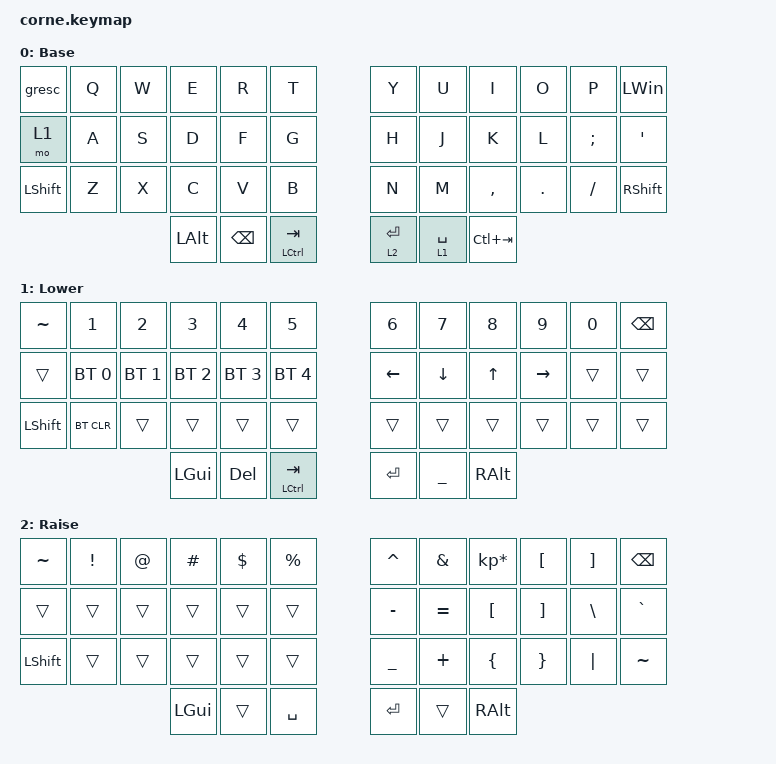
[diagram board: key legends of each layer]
/*
 * Copyright (c) 2020 The ZMK Contributors
 *
 * SPDX-License-Identifier: MIT
 */

#include <behaviors.dtsi>
#include <dt-bindings/zmk/bt.h>
#include <dt-bindings/zmk/keys.h>

/ {
    keymap {
        compatible = "zmk,keymap";

        default_layer {
            // -----------------------------------------------------------------------------------------
            // |  TAB |  Q  |  W  |  E  |  R  |  T  |   |  Y  |  U   |  I  |  O  |  P  | BKSP |
            // | CTRL |  A  |  S  |  D  |  F  |  G  |   |  H  |  J   |  K  |  L  |  ;  |  '   |
            // | SHFT |  Z  |  X  |  C  |  V  |  B  |   |  N  |  M   |  ,  |  .  |  /  | ESC  |
            //                    | GUI | LWR | SPC |   | ENT | RSE  | ALT |

            display-name = "Base";
            bindings = <
&gresc     &kp Q  &kp W  &kp E         &kp R          &kp T            &kp Y        &kp U        &kp I        &kp O    &kp P     &kp LEFT_WIN
&mo 1      &kp A  &kp S  &kp D         &kp F          &kp G            &kp H        &kp J        &kp K        &kp L    &kp SEMI  &kp SQT
&kp LSHFT  &kp Z  &kp X  &kp C         &kp V          &kp B            &kp N        &kp M        &kp COMMA    &kp DOT  &kp FSLH  &kp RIGHT_SHIFT
                         &kp LEFT_ALT  &kp BACKSPACE  &mt LCTRL TAB    &lt 2 ENTER  &lt 1 SPACE  &kp LC(TAB)
            >;
        };

        lower_layer {
            // -----------------------------------------------------------------------------------------
            // |  TAB |  1  |  2  |  3  |  4  |  5  |   |  6  |  7  |  8  |  9  |  0  | BKSP |
            // | BTCLR| BT1 | BT2 | BT3 | BT4 | BT5 |   | LFT | DWN |  UP | RGT |     |      |
            // | SHFT |     |     |     |     |     |   |     |     |     |     |     |      |
            //                    | GUI |     | SPC |   | ENT |     | ALT |

            display-name = "Lower";
            bindings = <
&kp TILDE  &kp N1        &kp N2        &kp N3        &kp N4        &kp N5           &kp N6    &kp N7     &kp N8    &kp N9     &kp N0  &kp BSPC
&trans     &bt BT_SEL 0  &bt BT_SEL 1  &bt BT_SEL 2  &bt BT_SEL 3  &bt BT_SEL 4     &kp LEFT  &kp DOWN   &kp UP    &kp RIGHT  &trans  &trans
&kp LSHFT  &bt BT_CLR    &trans        &trans        &trans        &trans           &trans    &trans     &trans    &trans     &trans  &trans
                                       &kp LGUI      &kp DELETE    &mt LCTRL TAB    &kp RET   &kp UNDER  &kp RALT
            >;
        };

        raise_layer {
            // -----------------------------------------------------------------------------------------
            // |  TAB |  !  |  @  |  #  |  $  |  %  |   |  ^  |  &  |  *  |  (  |  )  | BKSP |
            // | CTRL |     |     |     |     |     |   |  -  |  =  |  [  |  ]  |  \  |  `   |
            // | SHFT |     |     |     |     |     |   |  _  |  +  |  {  |  }  | "|" |  ~   |
            //                    | GUI |     | SPC |   | ENT |     | ALT |

            display-name = "Raise";
            bindings = <
&kp TILDE  &kp EXCL  &kp AT  &kp HASH  &kp DLLR  &kp PRCNT    &kp CARET  &kp AMPS   &kp KP_MULTIPLY  &kp LEFT_BRACKET  &kp RIGHT_BRACKET  &kp BSPC
&trans     &trans    &trans  &trans    &trans    &trans       &kp MINUS  &kp EQUAL  &kp LBKT         &kp RBKT          &kp BSLH           &kp GRAVE
&kp LSHFT  &trans    &trans  &trans    &trans    &trans       &kp UNDER  &kp PLUS   &kp LBRC         &kp RBRC          &kp PIPE           &kp TILDE
                             &kp LGUI  &trans    &kp SPACE    &kp RET    &trans     &kp RALT
            >;
        };
    };
};
